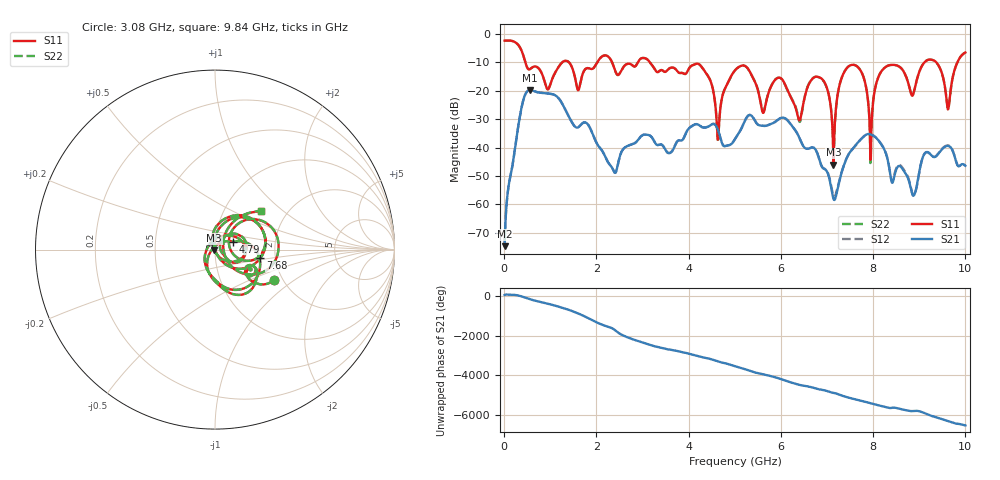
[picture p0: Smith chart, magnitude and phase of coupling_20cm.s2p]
! TOUCHSTONE file generated by CST MICROWAVE STUDIO
! Date and time: Thu Jun 18 03:57:25 2020
! Project name: 18_June_2_vivaldi_Gen1_top_bottom20cm_trial1a.cst
! Parameters = {DL_X1=27; DL_X2=6; DL_Y1=-142; DL_Y2=-114; DL_thickness=0.5; DL_tip_pos=-142; DL_zenith=-80; Gt=0.01; R=10; Rline2_pos=-115; Rline_pos=-140; St=1.57; Ws=180; Z_port=130; bottom_stripW=40; bumpR=12; bumpX=21; bumpY=-18; circleR=25; esosorbT=3.2; esosorbW=15; feed_pos=14; feed_slot1_po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
! Header version: 2015
! Port assignment regex: !\s*Touchstone port\s*([0-9]+)\s*=\s*CST MWS port\s*([0-9]+)\s*\(\"(.*)\"\)(\s*mode\s*([0-9]+))?.*
! Touchstone port assignment:
! Touchstone port 1 = CST MWS port 1 ("")
! Touchstone port 2 = CST MWS port 2 ("")
# GHz S MA R 50
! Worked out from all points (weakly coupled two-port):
!   1000 points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, 10 MHz to 10 GHz, reference 50 ohm
!   highest |S21| = -19.73 dB at 560 MHz (marker M1); lowest = -74.7 dB at 10 MHz (marker M2)
!   lowest |S11| = -46.0 dB at 7.14 GHz (marker M3), VSWR 1.01, Z = 49.6 - j0.302 ohm
!   |S11| at or under -10 dB: 461.1 MHz to 1.256 GHz (795.2 MHz wide, 92.6 % of centre); 1.408 GHz to 2.016 GHz (608.4 MHz wide, 35.5 % of centre); 3.162 GHz to 9.111 GHz (5.948 GHz wide, 96.9 % of centre)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
!   |S22| runs from -45.4 to -2.3 dB; largest |S21 - S12| = 0.00021
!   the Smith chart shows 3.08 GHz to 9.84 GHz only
!   S11 on the Smith chart (normalised r, x): 3.08 GHz: 1.80, -0.70; 4.79 GHz: 1.22, +0.11; 7.68 GHz: 1.66, -0.17; 9.84 GHz: 1.49, +0.71
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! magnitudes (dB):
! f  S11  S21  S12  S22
! 10 MHz  -2.3  -74.7  -73.9  -2.3
! 560 MHz  -12.3  -19.7  -19.7  -12.3
! 1.68 GHz  -15.2  -31.7  -31.7  -15.2
! 2.39 GHz  -12.1  -48.7  -48.7  -12.1
! 3.08 GHz  -8.7  -35.4  -35.4  -8.7
! 3.34 GHz  -13.4  -39.1  -39.1  -13.3
! 4.24 GHz  -10.8  -32.2  -32.2  -10.8
! 4.64 GHz  -37.1  -34.0  -33.9  -37.1
! 4.79 GHz  -19.2  -39.5  -39.5  -19.1
! 5.01 GHz  -12.7  -36.8  -36.8  -12.7
! 6.4 GHz  -30.4  -36.5  -36.5  -30.8
! 6.67 GHz  -16.0  -39.9  -40.0  -15.9
! 7.14 GHz  -46.0  -58.0  -57.1  -45.3
! 7.34 GHz  -14.5  -47.5  -47.4  -14.5
! 7.68 GHz  -11.8  -38.0  -38.0  -11.8
! 7.95 GHz  -43.9  -35.4  -35.3  -43.2
! 8.34 GHz  -11.0  -46.3  -46.1  -11.0
! 8.88 GHz  -20.6  -56.9  -56.7  -20.6
! 9.28 GHz  -9.1  -43.0  -42.9  -9.1
! 9.62 GHz  -26.5  -39.4  -39.2  -26.3
! 9.84 GHz  -9.5  -46.4  -46.4  -9.5
! 10 GHz  -6.5  -46.4  -46.5  -6.5
